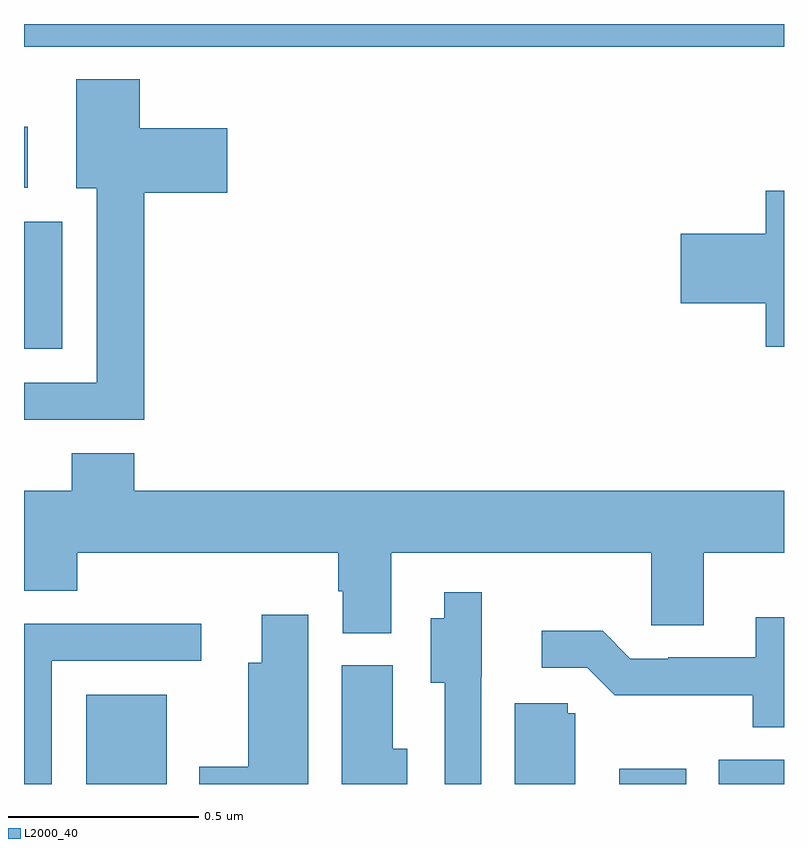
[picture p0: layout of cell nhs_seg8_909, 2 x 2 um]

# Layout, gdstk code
import gdstk
lib = gdstk.Library(unit=1e-6, precision=1e-09)
def R(c, l, rs):  # rectangles x0, y0, x1, y1
    for r in rs: c.add(gdstk.rectangle(r[:2], r[2:], *l))
def P(c, l, *ps):  # polygons
    for p in ps: c.add(gdstk.Polygon(p, *l))
L2000_40 = (2000, 40)

nhs_seg8_909 = lib.new_cell('nhs_seg8_909')
R(nhs_seg8_909, L2000_40, [(123.164,1107.9,123.376,1108.135), (124.566,1107.9,124.743,1107.94), (124.828,1107.9,125,1107.964), (123,1109.045,123.1,1109.38), (123,1109.469,123.01,1109.629), (123,1109.84,125,1109.9)])
P(nhs_seg8_909, L2000_40, [(123.317,1109.456),(123.535,1109.456),(123.535,1109.626),(123.304,1109.626),(123.304,1109.755),(123.137,1109.755),(123.137,1109.468),(123.191,1109.468),(123.191,1108.956),(123,1108.956),(123,1108.859),(123.317,1108.859)],
  [(125,1109.461),(124.952,1109.461),(124.952,1109.348),(124.728,1109.348),(124.728,1109.165),(124.952,1109.165),(124.952,1109.051),(125,1109.051)],
  [(123.967,1108.508),(124.65,1108.508),(124.65,1108.318),(124.789,1108.318),(124.789,1108.508),(125,1108.508),(125,1108.672),(123.29,1108.672),(123.29,1108.771),(123.125,1108.771),(123.125,1108.672),(123,1108.672),(123,1108.409),(123.14,1108.409),(123.14,1108.508),(123.827,1108.508),(123.827,1108.407),(123.839,1108.407),(123.839,1108.297),(123.967,1108.297)],
  [(124.203,1108.182),(124.204,1108.182),(124.204,1108.405),(124.106,1108.405),(124.106,1108.336),(124.07,1108.336),(124.07,1108.166),(124.107,1108.166),(124.107,1107.9),(124.203,1107.9)],
  [(123.748,1108.345),(123.626,1108.345),(123.626,1108.219),(123.59,1108.219),(123.59,1107.946),(123.461,1107.946),(123.461,1107.9),(123.748,1107.9)],
  [(125,1108.339),(124.925,1108.339),(124.925,1108.233),(124.696,1108.233),(124.696,1108.23),(124.596,1108.23),(124.523,1108.303),(124.362,1108.303),(124.362,1108.206),(124.482,1108.206),(124.555,1108.133),(124.654,1108.133),(124.654,1108.134),(124.918,1108.134),(124.918,1108.049),(125,1108.049)],
  [(123.073,1108.224),(123.466,1108.224),(123.466,1108.322),(123,1108.322),(123,1107.9),(123.073,1107.9)],
  [(124.009,1107.993),(123.97,1107.993),(123.97,1108.212),(123.836,1108.212),(123.836,1107.9),(124.009,1107.9)],
  [(124.45,1108.086),(124.431,1108.086),(124.431,1108.113),(124.292,1108.113),(124.292,1107.9),(124.45,1107.9)])

lib.write_gds('nhs_seg8_909.gds')
